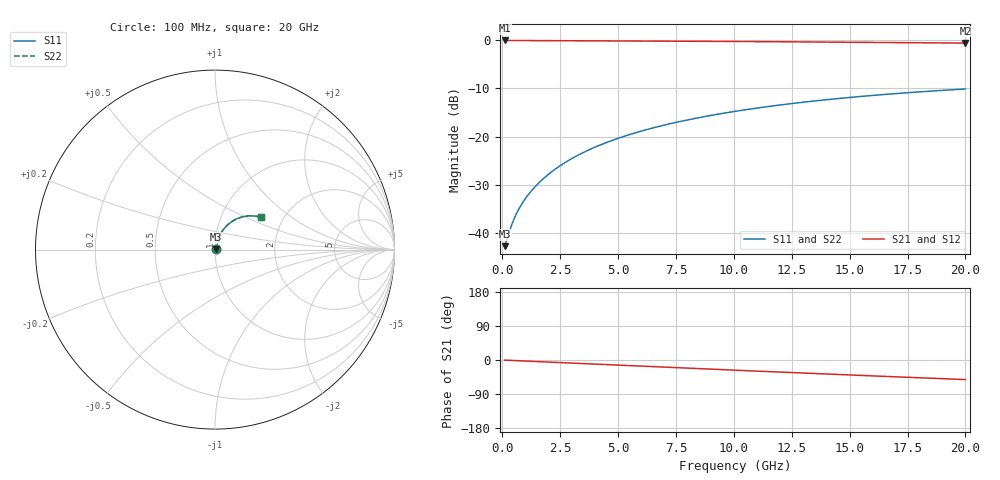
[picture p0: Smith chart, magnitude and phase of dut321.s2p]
! Touchstone file exported from HFSS 2026.1.0
!  File:  C:/ffzhzh/LocalFiles/Ansys_Project_Files/temp_train_TMRDL_321_1783003479_53980.aedt
!  Generated:  10:45:55 PM Jul  2, 2026
!  Design:  TMRDL
!  Project:  temp_train_TMRDL_321_1783003479_53980
! Variables:
!  h_bsmrdl = 2um
!  h_ox = 20um
!  h_rdl = 5um
!  h_sub = 80um
!  h_tmrdl = 2.19um
!  h_tsv = 80um
!  h_via = 3um
!  l_bsmrdl = 300um
!  l_sub = 1257.98um
!  l_tmrdl = 857.98um
!  m_sub = 200um
!  pitch = 32.31um
!  r_tsv = 6um
!  s_tmrdl = 10um
!  w_bsmrdl = 18um
!  w_sub = 500um
!  w_tmrdl = 20.78um
!  x_tsv_center1 = 868.37um
!  x_tsv_center2 = 1186.37um
!  x_tsv_center3 = 2065.13um
!  x_tsv_center4 = 2383.13um
!  x_tsv_center5 = 3261.89um
!  x_tsv_center6 = 3579.89um
# GHz S MA R 50.000000
! Terminal data exported
! Port[1] = TM_RDL1_1_T1
! Port[2] = TM_RDL1_1_T2
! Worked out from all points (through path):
!   200 points, 100 MHz to 20 GHz, reference 50 ohm
!   highest |S21| = -0.06 dB at 100 MHz (marker M1); lowest = -0.6 dB at 20 GHz (marker M2)
!   group delay of S21, straight-line fit = 7.18 ps
!   lowest |S11| = -42.7 dB at 100 MHz (marker M3), VSWR 1.01, Z = 50.7 + j0.243 ohm
!   |S11| at or under -10 dB: start of sweep to end of sweep
!   |S22| runs from -42.7 to -10.1 dB; largest |S21 - S12| = 3.4e-15
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0.1  0.007306 19.2  0.9931 -0.3  0.9931 -0.3  0.007306 19.2
! Gamma 0 0 0 0
! Port Impedance 50 0 50 0
0.4  0.01204 48.9  0.9922 -1.2  0.9922 -1.2  0.01204 48.9
0.5  0.01387 53.1  0.9919 -1.5  0.9919 -1.5  0.01387 53.1
0.6  0.01569 56.1  0.9916 -1.7  0.9916 -1.7  0.01569 56.1
0.7  0.01749 58.5  0.9913 -2.0  0.9913 -2.0  0.01749 58.5
0.9  0.02103 62.0  0.9908 -2.5  0.9908 -2.5  0.02103 62.0
1.2  0.02634 65.6  0.9902 -3.3  0.9902 -3.3  0.02634 65.6
1.4  0.0299 67.3  0.99 -3.9  0.99 -3.9  0.0299 67.3
1.7  0.0353 69.1  0.9896 -4.7  0.9896 -4.7  0.03529 69.1
2.2  0.04441 70.8  0.989 -6.0  0.989 -6.0  0.0444 70.8
2.8  0.05546 71.6  0.9882 -7.7  0.9882 -7.7  0.05545 71.6
3.5  0.0684 71.6  0.9871 -9.5  0.9871 -9.5  0.06839 71.6
4.2  0.08131 70.9  0.9859 -11.4  0.9859 -11.4  0.08129 71.0
5  0.09594 69.8  0.9843 -13.6  0.9843 -13.6  0.09592 69.8
5.9  0.1122 68.1  0.9823 -16.0  0.9823 -16.0  0.1122 68.2
6.8  0.1282 66.3  0.9799 -18.4  0.9799 -18.4  0.1281 66.4
8.3  0.154 63.0  0.9755 -22.3  0.9755 -22.3  0.154 63.1
10.1  0.1835 58.8  0.9696 -27.0  0.9696 -27.0  0.1835 58.9
11.7  0.2083 54.9  0.9639 -31.2  0.9639 -31.2  0.2083 55.1
13.4  0.233 50.8  0.9575 -35.5  0.9575 -35.5  0.2329 51.0
16.7  0.2759 42.9  0.9448 -43.7  0.9448 -43.7  0.2757 43.1
20  0.3117 35.1  0.9327 -51.7  0.9327 -51.7  0.3115 35.4
